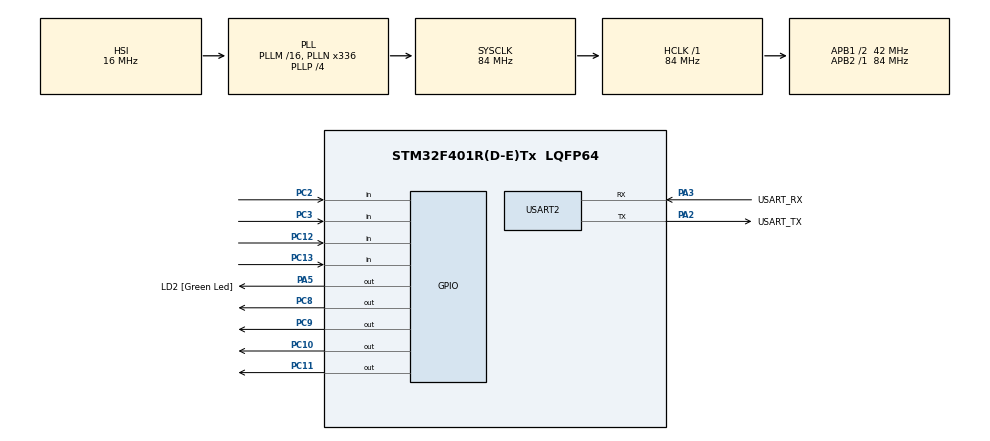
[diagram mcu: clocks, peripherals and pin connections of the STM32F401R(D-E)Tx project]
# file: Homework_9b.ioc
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Mcu.Family=STM32F4
Mcu.Name=STM32F401R(D-E)Tx
Mcu.Package=LQFP64
NVIC.PriorityGroup=NVIC_PRIORITYGROUP_0
NVIC.TIM2_IRQn=true\:0\:0\:false\:false\:true\:true\:true\:true
NVIC.TIM3_IRQn=true\:0\:0\:false\:false\:true\:true\:true\:true
PA13.GPIO_Label=TMS
PA13.Mode=Serial_Wire
PA13.Signal=SYS_JTMS-SWDIO
PA14.GPIO_Label=TCK
PA14.Mode=Serial_Wire
PA14.Signal=SYS_JTCK-SWCLK
PA2.GPIO_Label=USART_TX
PA2.GPIO_Mode=GPIO_MODE_AF_PP
PA2.GPIO_PuPd=GPIO_NOPULL
PA2.GPIO_Speed=GPIO_SPEED_FREQ_LOW
PA2.Mode=Asynchronous
PA2.Signal=USART2_TX
PA3.GPIO_Label=USART_RX
PA3.GPIO_Mode=GPIO_MODE_AF_PP
PA3.GPIO_PuPd=GPIO_NOPULL
PA3.GPIO_Speed=GPIO_SPEED_FREQ_LOW
PA3.Mode=Asynchronous
PA3.Signal=USART2_RX
PA5.GPIO_Label=LD2 [Green Led]
PA5.GPIO_Mode=GPIO_MODE_OUTPUT_PP
PA5.GPIO_PuPd=GPIO_NOPULL
PA5.GPIO_Speed=GPIO_SPEED_FREQ_LOW
PA5.Signal=GPIO_Output
PB3.GPIO_Label=SWO
PB3.Signal=SYS_JTDO-SWO
PC10.Signal=GPIO_Output
PC11.Signal=GPIO_Output
PC12.Signal=GPIO_Input
PC13-ANTI_TAMP.Signal=GPIO_Input
PC14-OSC32_IN.Mode=LSE-External-Oscillator
PC14-OSC32_IN.Signal=RCC_OSC32_IN
PC15-OSC32_OUT.Mode=LSE-External-Oscillator
PC15-OSC32_OUT.Signal=RCC_OSC32_OUT
PC2.Signal=GPIO_Input
PC3.Signal=GPIO_Input
PC8.Signal=GPIO_Output
PC9.Signal=GPIO_Output
PH0\ -\ OSC_IN.Mode=HSE-External-Clock-Source
PH0\ -\ OSC_IN.Signal=RCC_OSC_IN
PH1\ -\ OSC_OUT.Mode=HSE-External-Clock-Source
PH1\ -\ OSC_OUT.Signal=RCC_OSC_OUT
ProjectManager.HeapSize=0x200
ProjectManager.StackSize=0x400
ProjectManager.TargetToolchain=STM32CubeIDE
RCC.48MHZClocksFreq_Value=48000000
RCC.AHBFreq_Value=84000000
RCC.APB1CLKDivider=RCC_HCLK_DIV2
RCC.APB1Freq_Value=42000000
RCC.APB1TimFreq_Value=84000000
RCC.APB2Freq_Value=84000000
RCC.APB2TimFreq_Value=84000000
RCC.CortexFreq_Value=84000000
RCC.HCLKFreq_Value=84000000
RCC.HSE_VALUE=8000000
RCC.HSI_VALUE=16000000
RCC.PLLN=336
RCC.PLLP=RCC_PLLP_DIV4
RCC.PLLQ=7
RCC.SYSCLKFreq_VALUE=84000000
RCC.SYSCLKSource=RCC_SYSCLKSOURCE_PLLCLK
RCC.VCOOutputFreq_Value=336000000
TIM2.Period=20-1
TIM2.Prescaler=8400-1
TIM3.Prescaler=8400-1
USART2.VirtualMode=VM_ASYNC
VP_TIM2_VS_ClockSourceINT.Mode=Internal
VP_TIM3_VS_ClockSourceINT.Mode=Internal
board=NUCLEO-F401RE

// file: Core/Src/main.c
/* USER CODE BEGIN Header */
/**
	******************************************************************************
	* @file           : main.c
	* @brief          : Main program body
	******************************************************************************
	* @attention
	*
	* Copyright (c) 2023 STMicroelectronics.
	* All rights reserved.
	*
	* This software is licensed under terms that can be found in the LICENSE file
	* in the root directory of this software component.
	* If no LICENSE file comes with this software, it is provided AS-IS.
	*
	******************************************************************************
	*/
/* USER CODE END Header */

#include "main.h"

/* USER CODE BEGIN Includes */
#include "string.h"
#include "stdbool.h"
/* USER CODE END Includes */

/* USER CODE BEGIN PD */
#define COL_BANK GPIOC
#define ROW_BANK GPIOC
#define COL_NUM 4
#define ROW_NUM 4
#define DEBOUNCE_DELAY_MS 5
#define COLUMN_CHECK_DELAY_MS 5
#define LONG_PRESS_DURATION_MS 1000
/* USER CODE END PD */

/* USER CODE BEGIN PM */
#define SET_START_TIMER(htim, delay) do { \
	__HAL_TIM_SET_AUTORELOAD(htim, delay*10); \
	__HAL_TIM_CLEAR_FLAG(htim, TIM_FLAG_UPDATE); \
	HAL_TIM_Base_Start_IT(htim); \
} while(0)
/* USER CODE END PM */

TIM_HandleTypeDef htim2;
TIM_HandleTypeDef htim3;

UART_HandleTypeDef huart2;

/* USER CODE BEGIN PV */
const uint16_t keymap[ROW_NUM][COL_NUM] = {
	{0x30, 0x31, 0x32, 0x33}, // {'0', '1', '2', '3'}
	{0x34, 0x35, 0x36, 0x37}, // {'4', '5', '6', '7'}
	{0x38, 0x39, 0x41, 0x42}, // {'8', '9', 'A', 'B'}
	{0x43, 0x44, 0x45, 0x46}  // {'C', 'D', 'E', 'F'}
};

const uint16_t rows_pin[ROW_NUM] = {GPIO_PIN_12, GPIO_PIN_13, GPIO_PIN_2, GPIO_PIN_3};
const uint16_t columns_pin[COL_NUM] = {GPIO_PIN_8, GPIO_PIN_9, GPIO_PIN_10, GPIO_PIN_11};

int keyboard_state[ROW_NUM][COL_NUM];
int keyboard_state_old[ROW_NUM][COL_NUM];

int col_idx = 0;
int row_idx = 0;
/* USER CODE END PV */

void SystemClock_Config(void);
static void MX_GPIO_Init(void);
static void MX_USART2_UART_Init(void);
static void MX_TIM2_Init(void);
static void MX_TIM3_Init(void);

/* USER CODE BEGIN 0 */
void debounce(int debounce_delay_ms) {
	SET_START_TIMER(&htim3, debounce_delay_ms);
	while(__HAL_TIM_GET_FLAG(&htim3, TIM_FLAG_UPDATE) == RESET){}
	HAL_TIM_Base_Stop_IT(&htim3);
}

void check_and_transmit_key(int row_idx, int col_idx) {
	if (!HAL_GPIO_ReadPin(ROW_BANK, rows_pin[row_idx])) {
			keyboard_state[row_idx][col_idx] = 1;
			if (LONG_PRESS_DURATION_MS > DEBOUNCE_DELAY_MS) {
					SET_START_TIMER(&htim3, (LONG_PRESS_DURATION_MS - DEBOUNCE_DELAY_MS));
					while (__HAL_TIM_GET_FLAG(&htim3, TIM_FLAG_UPDATE) == RESET) {
							if (HAL_GPIO_ReadPin(ROW_BANK, rows_pin[row_idx])) {
									keyboard_state[row_idx][col_idx] = 0;
							}
					}
				HAL_TIM_Base_Stop_IT(&htim3);
			}
	} else {
			keyboard_state[row_idx][col_idx] = 0;
	}
	if (keyboard_state[row_idx][col_idx] == 1 && keyboard_state_old[row_idx][col_idx] == 0) {
			uint16_t key = keymap[row_idx][col_idx];
			HAL_UART_Transmit(&huart2, (uint8_t*) &key, sizeof(key), 10);
	}
}

void scan_column(void) {

	// Stop TIM2
	HAL_TIM_Base_Stop_IT(&htim2);

	// Copy last state of the keyboard
	memcpy(keyboard_state_old, keyboard_state, sizeof(keyboard_state));

	// Set column to scan
	HAL_GPIO_WritePin(COL_BANK, columns_pin[col_idx], GPIO_PIN_SET);

	// Scan through all the rows
	for (int row_idx = 0; row_idx < ROW_NUM; row_idx++) {
		debounce(DEBOUNCE_DELAY_MS);
		check_and_transmit_key(row_idx, col_idx);
	}

	// Reset column scanned
	HAL_GPIO_WritePin(COL_BANK, columns_pin[col_idx], GPIO_PIN_RESET);

	// Update column index
	col_idx = (col_idx < COL_NUM) ? col_idx + 1 : 0;

	// Restart TIM2
	SET_START_TIMER(&htim2, COLUMN_CHECK_DELAY_MS);

}

void HAL_TIM_PeriodElapsedCallback(TIM_HandleTypeDef *htim){
	if (htim==&htim2){
		scan_column();
	}
}
/* USER CODE END 0 */

int main(void)
{

  /* MCU Configuration--------------------------------------------------------*/

  /* Reset of all peripherals, Initializes the Flash interface and the Systick. */
  HAL_Init();

  /* Configure the system clock */
  SystemClock_Config();

  /* Initialize all configured peripherals */
  MX_GPIO_Init();
  MX_USART2_UART_Init();
  MX_TIM2_Init();
  MX_TIM3_Init();
  /* USER CODE BEGIN 2 */
	SET_START_TIMER(&htim2, COLUMN_CHECK_DELAY_MS);
  /* USER CODE END 2 */

  /* Infinite loop */
	while (1)
	{

	}
}

void SystemClock_Config(void)
{
  RCC_OscInitTypeDef RCC_OscInitStruct = {0};
  RCC_ClkInitTypeDef RCC_ClkInitStruct = {0};

  /** Configure the main internal regulator output voltage
  */
  __HAL_RCC_PWR_CLK_ENABLE();
  __HAL_PWR_VOLTAGESCALING_CONFIG(PWR_REGULATOR_VOLTAGE_SCALE2);

  /** Initializes the RCC Oscillators according to the specified parameters
  * in the RCC_OscInitTypeDef structure.
  */
  RCC_OscInitStruct.OscillatorType = RCC_OSCILLATORTYPE_HSI;
  RCC_OscInitStruct.HSIState = RCC_HSI_ON;
  RCC_OscInitStruct.HSICalibrationValue = RCC_HSICALIBRATION_DEFAULT;
  RCC_OscInitStruct.PLL.PLLState = RCC_PLL_ON;
  RCC_OscInitStruct.PLL.PLLSource = RCC_PLLSOURCE_HSI;
  RCC_OscInitStruct.PLL.PLLM = 16;
  RCC_OscInitStruct.PLL.PLLN = 336;
  RCC_OscInitStruct.PLL.PLLP = RCC_PLLP_DIV4;
  RCC_OscInitStruct.PLL.PLLQ = 7;
  if (HAL_RCC_OscConfig(&RCC_OscInitStruct) != HAL_OK)
  {
    Error_Handler();
  }

  /** Initializes the CPU, AHB and APB buses clocks
  */
  RCC_ClkInitStruct.ClockType = RCC_CLOCKTYPE_HCLK|RCC_CLOCKTYPE_SYSCLK
                              |RCC_CLOCKTYPE_PCLK1|RCC_CLOCKTYPE_PCLK2;
  RCC_ClkInitStruct.SYSCLKSource = RCC_SYSCLKSOURCE_PLLCLK;
  RCC_ClkInitStruct.AHBCLKDivider = RCC_SYSCLK_DIV1;
  RCC_ClkInitStruct.APB1CLKDivider = RCC_HCLK_DIV2;
  RCC_ClkInitStruct.APB2CLKDivider = RCC_HCLK_DIV1;

  if (HAL_RCC_ClockConfig(&RCC_ClkInitStruct, FLASH_LATENCY_2) != HAL_OK)
  {
    Error_Handler();
  }
}

static void MX_TIM2_Init(void)
{

  TIM_ClockConfigTypeDef sClockSourceConfig = {0};
  TIM_MasterConfigTypeDef sMasterConfig = {0};

  htim2.Instance = TIM2;
  htim2.Init.Prescaler = 8400-1;
  htim2.Init.CounterMode = TIM_COUNTERMODE_UP;
  htim2.Init.Period = 20-1;
  htim2.Init.ClockDivision = TIM_CLOCKDIVISION_DIV1;
  htim2.Init.AutoReloadPreload = TIM_AUTORELOAD_PRELOAD_DISABLE;
  if (HAL_TIM_Base_Init(&htim2) != HAL_OK)
  {
    Error_Handler();
  }
  sClockSourceConfig.ClockSource = TIM_CLOCKSOURCE_INTERNAL;
  if (HAL_TIM_ConfigClockSource(&htim2, &sClockSourceConfig) != HAL_OK)
  {
    Error_Handler();
  }
  sMasterConfig.MasterOutputTrigger = TIM_TRGO_RESET;
  sMasterConfig.MasterSlaveMode = TIM_MASTERSLAVEMODE_DISABLE;
  if (HAL_TIMEx_MasterConfigSynchronization(&htim2, &sMasterConfig) != HAL_OK)
  {
    Error_Handler();
  }

}

static void MX_TIM3_Init(void)
{

  TIM_ClockConfigTypeDef sClockSourceConfig = {0};
  TIM_MasterConfigTypeDef sMasterConfig = {0};

  htim3.Instance = TIM3;
  htim3.Init.Prescaler = 8400-1;
  htim3.Init.CounterMode = TIM_COUNTERMODE_UP;
  htim3.Init.Period = 65535;
  htim3.Init.ClockDivision = TIM_CLOCKDIVISION_DIV1;
  htim3.Init.AutoReloadPreload = TIM_AUTORELOAD_PRELOAD_DISABLE;
  if (HAL_TIM_Base_Init(&htim3) != HAL_OK)
  {
    Error_Handler();
  }
  sClockSourceConfig.ClockSource = TIM_CLOCKSOURCE_INTERNAL;
  if (HAL_TIM_ConfigClockSource(&htim3, &sClockSourceConfig) != HAL_OK)
  {
    Error_Handler();
  }
  sMasterConfig.MasterOutputTrigger = TIM_TRGO_RESET;
  sMasterConfig.MasterSlaveMode = TIM_MASTERSLAVEMODE_DISABLE;
  if (HAL_TIMEx_MasterConfigSynchronization(&htim3, &sMasterConfig) != HAL_OK)
  {
    Error_Handler();
  }

}

static void MX_USART2_UART_Init(void)
{

  huart2.Instance = USART2;
  huart2.Init.BaudRate = 115200;
  huart2.Init.WordLength = UART_WORDLENGTH_8B;
  huart2.Init.StopBits = UART_STOPBITS_1;
  huart2.Init.Parity = UART_PARITY_NONE;
  huart2.Init.Mode = UART_MODE_TX_RX;
  huart2.Init.HwFlowCtl = UART_HWCONTROL_NONE;
  huart2.Init.OverSampling = UART_OVERSAMPLING_16;
  if (HAL_UART_Init(&huart2) != HAL_OK)
  {
    Error_Handler();
  }

}

static void MX_GPIO_Init(void)
{
  GPIO_InitTypeDef GPIO_InitStruct = {0};

  /* GPIO Ports Clock Enable */
  __HAL_RCC_GPIOC_CLK_ENABLE();
  __HAL_RCC_GPIOH_CLK_ENABLE();
  __HAL_RCC_GPIOA_CLK_ENABLE();
  __HAL_RCC_GPIOB_CLK_ENABLE();

  /*Configure GPIO pin Output Level */
  HAL_GPIO_WritePin(LD2_GPIO_Port, LD2_Pin, GPIO_PIN_RESET);

  /*Configure GPIO pin Output Level */
  HAL_GPIO_WritePin(GPIOC, GPIO_PIN_8|GPIO_PIN_9|GPIO_PIN_10|GPIO_PIN_11, GPIO_PIN_RESET);

  /*Configure GPIO pins : PC13 PC2 PC3 PC12 */
  GPIO_InitStruct.Pin = GPIO_PIN_13|GPIO_PIN_2|GPIO_PIN_3|GPIO_PIN_12;
  GPIO_InitStruct.Mode = GPIO_MODE_INPUT;
  GPIO_InitStruct.Pull = GPIO_NOPULL;
  HAL_GPIO_Init(GPIOC, &GPIO_InitStruct);

  /*Configure GPIO pin : LD2_Pin */
  GPIO_InitStruct.Pin = LD2_Pin;
  GPIO_InitStruct.Mode = GPIO_MODE_OUTPUT_PP;
  GPIO_InitStruct.Pull = GPIO_NOPULL;
  GPIO_InitStruct.Speed = GPIO_SPEED_FREQ_LOW;
  HAL_GPIO_Init(LD2_GPIO_Port, &GPIO_InitStruct);

  /*Configure GPIO pins : PC8 PC9 PC10 PC11 */
  GPIO_InitStruct.Pin = GPIO_PIN_8|GPIO_PIN_9|GPIO_PIN_10|GPIO_PIN_11;
  GPIO_InitStruct.Mode = GPIO_MODE_OUTPUT_PP;
  GPIO_InitStruct.Pull = GPIO_NOPULL;
  GPIO_InitStruct.Speed = GPIO_SPEED_FREQ_LOW;
  HAL_GPIO_Init(GPIOC, &GPIO_InitStruct);

}

void Error_Handler(void)
{
	__disable_irq();
	while (1)
	{
	}
}
